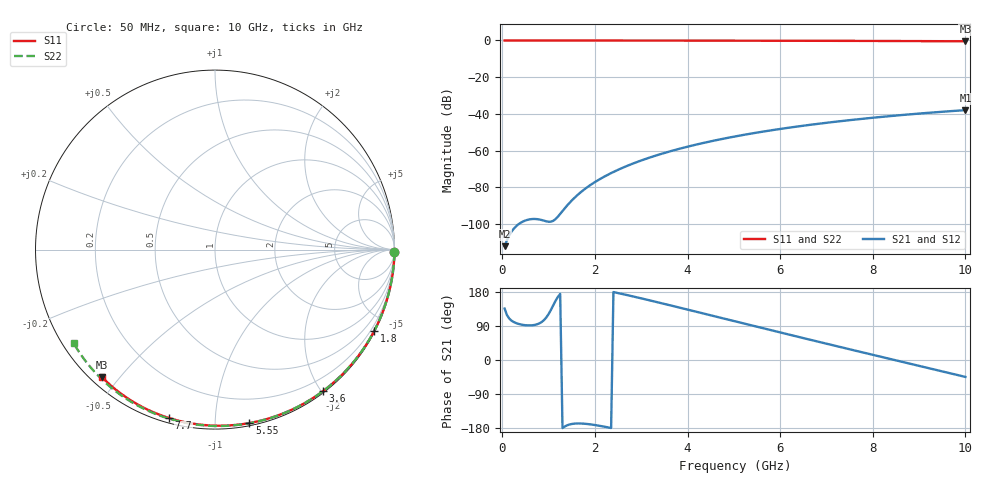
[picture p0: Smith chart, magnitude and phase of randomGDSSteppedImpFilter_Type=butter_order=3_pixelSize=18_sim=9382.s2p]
! freq	dB(S11)	phase(S11)	dB(S12)	phase(S12)
!  dB(S21)	phase(S21)	dB(S22)	phase(S22)
!S-par simulation data
#  GHz  S  DB  R 50
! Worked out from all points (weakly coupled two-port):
!   200 points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, 50 MHz to 10 GHz, reference 50 ohm
!   highest |S21| = -37.96 dB at 10 GHz (marker M1); lowest = -112.0 dB at 50 MHz (marker M2)
!   lowest |S11| = -0.4 dB at 10 GHz (marker M3), VSWR 38.64, Z = 1.56 - j22.5 ohm
!   |S11| at or under -10 dB: nowhere
!   |S22| runs from -0.5 to 0.0 dB; largest |S21 - S12| = 0
!   S11 on the Smith chart (normalised r, x): 50 MHz: open; 1.8 GHz: 0.04, -4.17; 3.6 GHz: 0.02, -2.02; 5.55 GHz: 0.02, -1.22; 7.7 GHz: 0.02, -0.76; 10 GHz: 0.03, -0.45
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0.05  -0.00 -0.8  -112.05 135.8  -112.05 135.8  -0.00 -0.9
0.45  -0.01 -6.8  -98.58 92.6  -98.58 92.6  -0.01 -7.7
0.9  -0.02 -13.6  -98.16 105.2  -98.16 105.2  -0.02 -15.2
1.3  -0.02 -19.6  -92.92 -179.7  -92.92 -179.7  -0.03 -21.9
1.75  -0.03 -26.2  -81.53 -167.9  -81.53 -167.9  -0.04 -29.4
1.8  -0.03 -27.0  -80.57 -168.4  -80.57 -168.4  -0.04 -30.2
1.85  -0.04 -27.7  -79.66 -169.1  -79.66 -169.1  -0.04 -31.0
2.05  -0.04 -30.6  -76.36 -172.6  -76.36 -172.6  -0.04 -34.3
2.25  -0.04 -33.6  -73.53 -177.0  -73.53 -177.0  -0.05 -37.5
2.55  -0.05 -37.9  -69.88 175.3  -69.88 175.3  -0.05 -42.3
2.95  -0.06 -43.6  -65.82 164.1  -65.82 164.1  -0.06 -48.7
3.4  -0.07 -50.0  -62.03 151.0  -62.03 151.0  -0.07 -55.7
3.6  -0.07 -52.7  -60.55 145.1  -60.55 145.1  -0.08 -58.8
4.3  -0.09 -62.3  -56.06 124.0  -56.06 124.0  -0.10 -69.4
5.05  -0.11 -72.3  -52.17 101.4  -52.17 101.4  -0.12 -80.4
5.55  -0.13 -78.8  -49.97 86.3  -49.97 86.3  -0.14 -87.6
6.1  -0.15 -85.7  -47.83 69.8  -47.83 69.8  -0.17 -95.3
6.7  -0.18 -93.2  -45.78 51.9  -45.78 51.9  -0.20 -103.4
7.7  -0.24 -105.2  -42.87 22.4  -42.87 22.4  -0.27 -116.7
8.35  -0.29 -112.8  -41.25 3.5  -41.25 3.5  -0.32 -125.2
9.2  -0.36 -122.5  -39.41 -21.3  -39.41 -21.3  -0.40 -136.2
10  -0.45 -131.6  -37.96 -44.6  -37.96 -44.6  -0.49 -146.5
